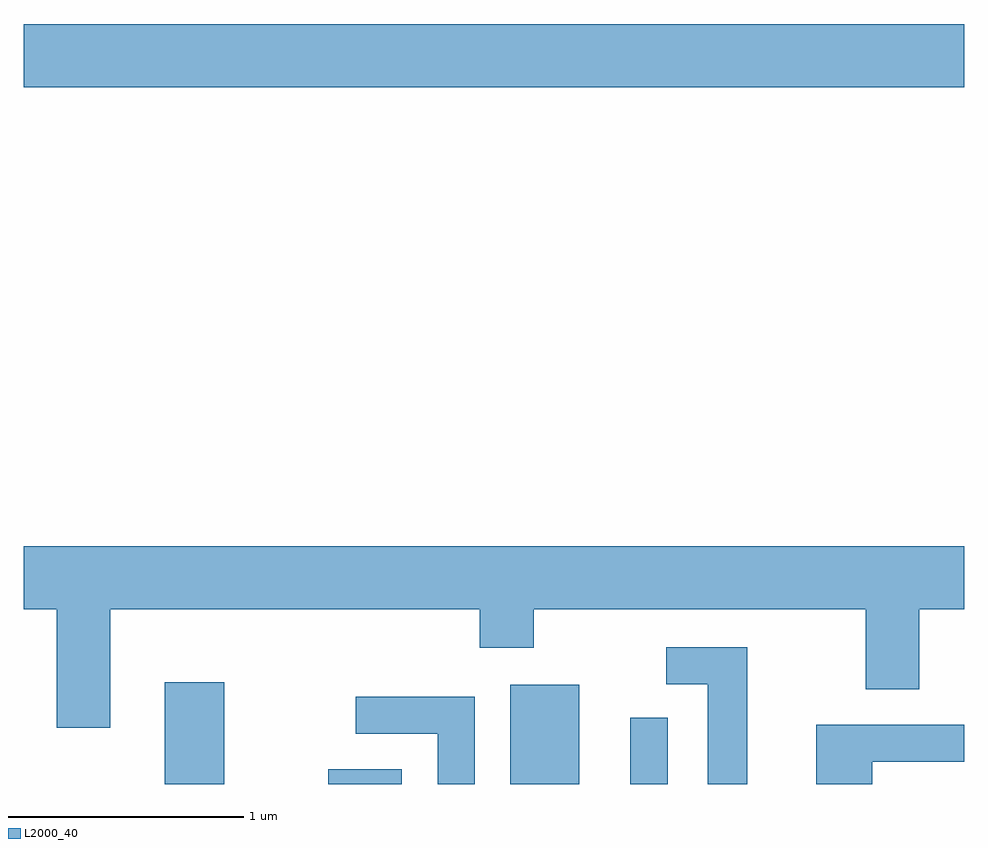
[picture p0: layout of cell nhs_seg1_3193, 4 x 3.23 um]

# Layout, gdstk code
import gdstk
lib = gdstk.Library(unit=1e-6, precision=1e-09)
def R(c, l, rs):  # rectangles x0, y0, x1, y1
    for r in rs: c.add(gdstk.rectangle(r[:2], r[2:], *l))
def P(c, l, *ps):  # polygons
    for p in ps: c.add(gdstk.Polygon(p, *l))
L2000_40 = (2000, 40)

nhs_seg1_3193 = lib.new_cell('nhs_seg1_3193')
R(nhs_seg1_3193, L2000_40, [(282.211,907.712,282.464,908.144), (282.906,907.712,283.219,907.774), (283.681,907.712,283.974,908.134), (284.191,907.712,284.349,907.993), (281.611,910.676,285.611,910.944)])
P(nhs_seg1_3193, L2000_40, [(281.979,908.456),(283.551,908.456),(283.551,908.291),(283.779,908.291),(283.779,908.456),(285.191,908.456),(285.191,908.116),(285.419,908.116),(285.419,908.456),(285.611,908.456),(285.611,908.724),(281.611,908.724),(281.611,908.456),(281.751,908.456),(281.751,907.951),(281.979,907.951)],
  [(284.689,908.294),(284.343,908.294),(284.343,908.136),(284.521,908.136),(284.521,907.712),(284.689,907.712)],
  [(283.529,908.084),(283.023,908.084),(283.023,907.926),(283.371,907.926),(283.371,907.712),(283.529,907.712)],
  [(285.219,907.806),(285.611,907.806),(285.611,907.964),(284.981,907.964),(284.981,907.712),(285.219,907.712)])

lib.write_gds('nhs_seg1_3193.gds')
